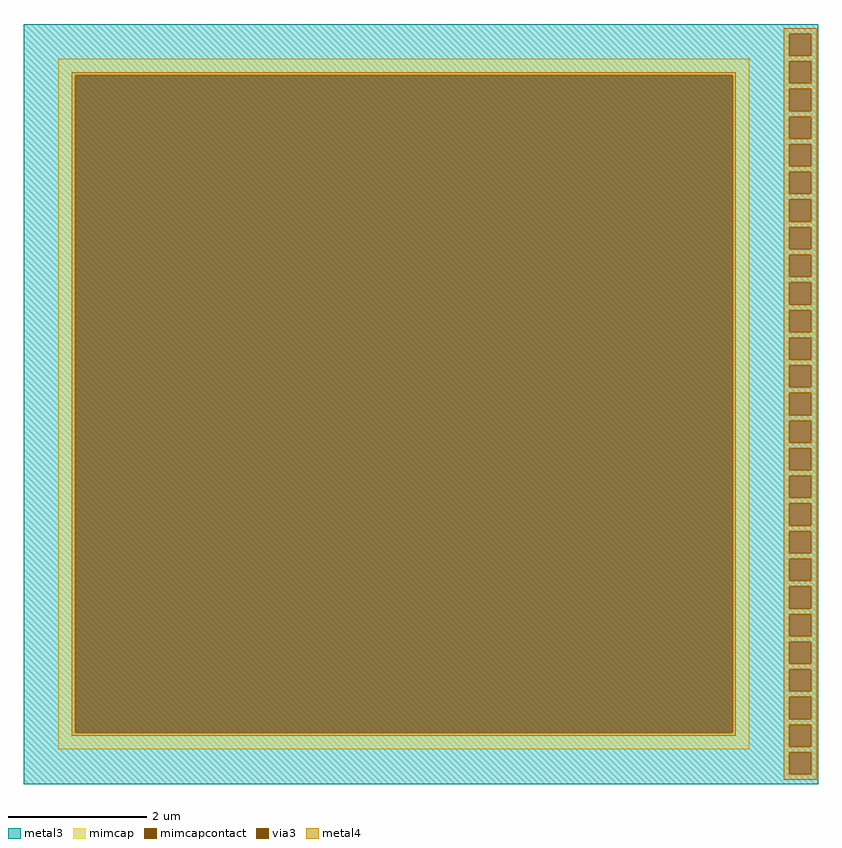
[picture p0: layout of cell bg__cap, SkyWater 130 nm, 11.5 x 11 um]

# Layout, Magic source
magic
tech sky130A
magscale 1 2
<< metal3 >>
rect -1150 1072 1149 1100
rect -1150 1008 1065 1072
rect 1129 1008 1149 1072
rect -1150 992 1149 1008
rect -1150 928 1065 992
rect 1129 928 1149 992
rect -1150 912 1149 928
rect -1150 848 1065 912
rect 1129 848 1149 912
rect -1150 832 1149 848
rect -1150 768 1065 832
rect 1129 768 1149 832
rect -1150 752 1149 768
rect -1150 688 1065 752
rect 1129 688 1149 752
rect -1150 672 1149 688
rect -1150 608 1065 672
rect 1129 608 1149 672
rect -1150 592 1149 608
rect -1150 528 1065 592
rect 1129 528 1149 592
rect -1150 512 1149 528
rect -1150 448 1065 512
rect 1129 448 1149 512
rect -1150 432 1149 448
rect -1150 368 1065 432
rect 1129 368 1149 432
rect -1150 352 1149 368
rect -1150 288 1065 352
rect 1129 288 1149 352
rect -1150 272 1149 288
rect -1150 208 1065 272
rect 1129 208 1149 272
rect -1150 192 1149 208
rect -1150 128 1065 192
rect 1129 128 1149 192
rect -1150 112 1149 128
rect -1150 48 1065 112
rect 1129 48 1149 112
rect -1150 32 1149 48
rect -1150 -32 1065 32
rect 1129 -32 1149 32
rect -1150 -48 1149 -32
rect -1150 -112 1065 -48
rect 1129 -112 1149 -48
rect -1150 -128 1149 -112
rect -1150 -192 1065 -128
rect 1129 -192 1149 -128
rect -1150 -208 1149 -192
rect -1150 -272 1065 -208
rect 1129 -272 1149 -208
rect -1150 -288 1149 -272
rect -1150 -352 1065 -288
rect 1129 -352 1149 -288
rect -1150 -368 1149 -352
rect -1150 -432 1065 -368
rect 1129 -432 1149 -368
rect -1150 -448 1149 -432
rect -1150 -512 1065 -448
rect 1129 -512 1149 -448
rect -1150 -528 1149 -512
rect -1150 -592 1065 -528
rect 1129 -592 1149 -528
rect -1150 -608 1149 -592
rect -1150 -672 1065 -608
rect 1129 -672 1149 -608
rect -1150 -688 1149 -672
rect -1150 -752 1065 -688
rect 1129 -752 1149 -688
rect -1150 -768 1149 -752
rect -1150 -832 1065 -768
rect 1129 -832 1149 -768
rect -1150 -848 1149 -832
rect -1150 -912 1065 -848
rect 1129 -912 1149 -848
rect -1150 -928 1149 -912
rect -1150 -992 1065 -928
rect 1129 -992 1149 -928
rect -1150 -1008 1149 -992
rect -1150 -1072 1065 -1008
rect 1129 -1072 1149 -1008
rect -1150 -1100 1149 -1072
<< via3 >>
rect 1065 1008 1129 1072
rect 1065 928 1129 992
rect 1065 848 1129 912
rect 1065 768 1129 832
rect 1065 688 1129 752
rect 1065 608 1129 672
rect 1065 528 1129 592
rect 1065 448 1129 512
rect 1065 368 1129 432
rect 1065 288 1129 352
rect 1065 208 1129 272
rect 1065 128 1129 192
rect 1065 48 1129 112
rect 1065 -32 1129 32
rect 1065 -112 1129 -48
rect 1065 -192 1129 -128
rect 1065 -272 1129 -208
rect 1065 -352 1129 -288
rect 1065 -432 1129 -368
rect 1065 -512 1129 -448
rect 1065 -592 1129 -528
rect 1065 -672 1129 -608
rect 1065 -752 1129 -688
rect 1065 -832 1129 -768
rect 1065 -912 1129 -848
rect 1065 -992 1129 -928
rect 1065 -1072 1129 -1008
<< mimcap >>
rect -1050 952 950 1000
rect -1050 -952 -1002 952
rect 902 -952 950 952
rect -1050 -1000 950 -952
<< mimcapcontact >>
rect -1002 -952 902 952
<< metal4 >>
rect 1049 1072 1145 1088
rect 1049 1008 1065 1072
rect 1129 1008 1145 1072
rect 1049 992 1145 1008
rect -1011 952 911 961
rect -1011 -952 -1002 952
rect 902 -952 911 952
rect -1011 -961 911 -952
rect 1049 928 1065 992
rect 1129 928 1145 992
rect 1049 912 1145 928
rect 1049 848 1065 912
rect 1129 848 1145 912
rect 1049 832 1145 848
rect 1049 768 1065 832
rect 1129 768 1145 832
rect 1049 752 1145 768
rect 1049 688 1065 752
rect 1129 688 1145 752
rect 1049 672 1145 688
rect 1049 608 1065 672
rect 1129 608 1145 672
rect 1049 592 1145 608
rect 1049 528 1065 592
rect 1129 528 1145 592
rect 1049 512 1145 528
rect 1049 448 1065 512
rect 1129 448 1145 512
rect 1049 432 1145 448
rect 1049 368 1065 432
rect 1129 368 1145 432
rect 1049 352 1145 368
rect 1049 288 1065 352
rect 1129 288 1145 352
rect 1049 272 1145 288
rect 1049 208 1065 272
rect 1129 208 1145 272
rect 1049 192 1145 208
rect 1049 128 1065 192
rect 1129 128 1145 192
rect 1049 112 1145 128
rect 1049 48 1065 112
rect 1129 48 1145 112
rect 1049 32 1145 48
rect 1049 -32 1065 32
rect 1129 -32 1145 32
rect 1049 -48 1145 -32
rect 1049 -112 1065 -48
rect 1129 -112 1145 -48
rect 1049 -128 1145 -112
rect 1049 -192 1065 -128
rect 1129 -192 1145 -128
rect 1049 -208 1145 -192
rect 1049 -272 1065 -208
rect 1129 -272 1145 -208
rect 1049 -288 1145 -272
rect 1049 -352 1065 -288
rect 1129 -352 1145 -288
rect 1049 -368 1145 -352
rect 1049 -432 1065 -368
rect 1129 -432 1145 -368
rect 1049 -448 1145 -432
rect 1049 -512 1065 -448
rect 1129 -512 1145 -448
rect 1049 -528 1145 -512
rect 1049 -592 1065 -528
rect 1129 -592 1145 -528
rect 1049 -608 1145 -592
rect 1049 -672 1065 -608
rect 1129 -672 1145 -608
rect 1049 -688 1145 -672
rect 1049 -752 1065 -688
rect 1129 -752 1145 -688
rect 1049 -768 1145 -752
rect 1049 -832 1065 -768
rect 1129 -832 1145 -768
rect 1049 -848 1145 -832
rect 1049 -912 1065 -848
rect 1129 -912 1145 -848
rect 1049 -928 1145 -912
rect 1049 -992 1065 -928
rect 1129 -992 1145 -928
rect 1049 -1008 1145 -992
rect 1049 -1072 1065 -1008
rect 1129 -1072 1145 -1008
rect 1049 -1088 1145 -1072
<< properties >>
string FIXED_BBOX -1150 -1100 1050 1100
<< end >>
